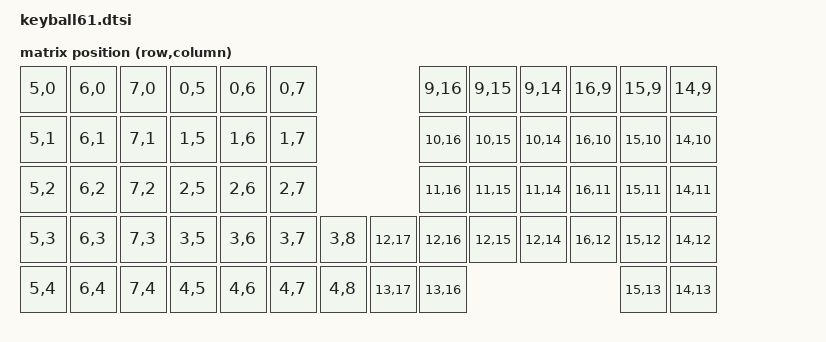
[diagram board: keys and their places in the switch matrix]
#include "keyball61_layouts.dtsi"

#include <dt-bindings/zmk/matrix_transform.h>
#include <dt-bindings/zmk/input_transform.h>

#include <zephyr/dt-bindings/input/input-event-codes.h>
#include <input/processors.dtsi>
//#include <input/processors/xyz.dtsi>

&physical_layout0 {
    kscan = <&kscan0>; // Label of the kscan this layout uses
    transform = <&default_transform>; // Label of the matrix transform this layout uses
};

/ {

    to_wheel: to_wheel {
        compatible = "zmk,input-processor-code-mapper";
        #input-processor-cells = <0>;
        type = <INPUT_EV_REL>;
        map = <INPUT_REL_X INPUT_REL_HWHEEL>
            , <INPUT_REL_Y INPUT_REL_WHEEL>;
    };

    chosen {
        zmk,kscan = &kscan0;
        zmk,physical-layout = &physical_layout0;
        zephyr,display = &oled;
    };

    default_transform: matrix_transform0 {
        compatible = "zmk,matrix-transform";
        columns = <14>;
        rows = <5>;
        map = <
            RC(5,0) RC(6,0) RC(7,0) RC(0,5) RC(0,6) RC(0,7)                       RC(9,16)  RC(9,15)  RC(9,14)  RC(16,9)  RC(15,9)  RC(14,9)
            RC(5,1) RC(6,1) RC(7,1) RC(1,5) RC(1,6) RC(1,7)                       RC(10,16) RC(10,15) RC(10,14) RC(16,10) RC(15,10) RC(14,10)
            RC(5,2) RC(6,2) RC(7,2) RC(2,5) RC(2,6) RC(2,7)                       RC(11,16) RC(11,15) RC(11,14) RC(16,11) RC(15,11) RC(14,11)
            RC(5,3) RC(6,3) RC(7,3) RC(3,5) RC(3,6) RC(3,7) RC(3,8)     RC(12,17) RC(12,16) RC(12,15) RC(12,14) RC(16,12) RC(15,12) RC(14,12)
            RC(5,4) RC(6,4) RC(7,4) RC(4,5) RC(4,6) RC(4,7) RC(4,8)     RC(13,17) RC(13,16)                               RC(15,13) RC(14,13)
        >;
    };

    kscan0: kscan {
        compatible = "zmk,kscan-gpio-charlieplex";
        wakeup-source;

        gpios
            = <&pro_micro 4 GPIO_ACTIVE_HIGH>
            , <&pro_micro 5 GPIO_ACTIVE_HIGH>
            , <&pro_micro 6 GPIO_ACTIVE_HIGH>
            , <&pro_micro 7 GPIO_ACTIVE_HIGH>
            , <&pro_micro 8 GPIO_ACTIVE_HIGH>
            , <&pro_micro 21 GPIO_ACTIVE_HIGH>
            , <&pro_micro 20 GPIO_ACTIVE_HIGH>
            , <&pro_micro 19 GPIO_ACTIVE_HIGH>
            , <&pro_micro 18 GPIO_ACTIVE_HIGH>
            ;
    };
};

&pinctrl {
    i2c1_default: i2c1_default {
        group1 {
            psels = <NRF_PSEL(TWIM_SDA, 0, 17)>,
                    <NRF_PSEL(TWIM_SCL, 0, 20)>;
        };
    };

    i2c1_sleep: i2c1_sleep {
        group1 {
            psels = <NRF_PSEL(TWIM_SDA, 0, 17)>,
                    <NRF_PSEL(TWIM_SCL, 0, 20)>;
            low-power-enable;
        };
    };
};

&i2c1 {
    status = "okay";
    compatible = "nordic,nrf-twi";
    clock-frequency = <I2C_BITRATE_STANDARD>;
    pinctrl-0 = <&i2c1_default>;
    pinctrl-1 = <&i2c1_sleep>;
    pinctrl-names = "default", "sleep";

    oled: ssd1306@3c {
		compatible = "solomon,ssd1306fb-i2c";
		reg = <0x3c>;
		label = "DISPLAY";
		width = <128> ;
		height = <32> ;
		segment-offset = <0> ;
		page-offset = <0> ;
		display-offset = <0> ;
		display-inverted = <0> ;
		// reset-gpios = <&gpio0 4 GPIO_ACTIVE_LOW>;
	};
};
